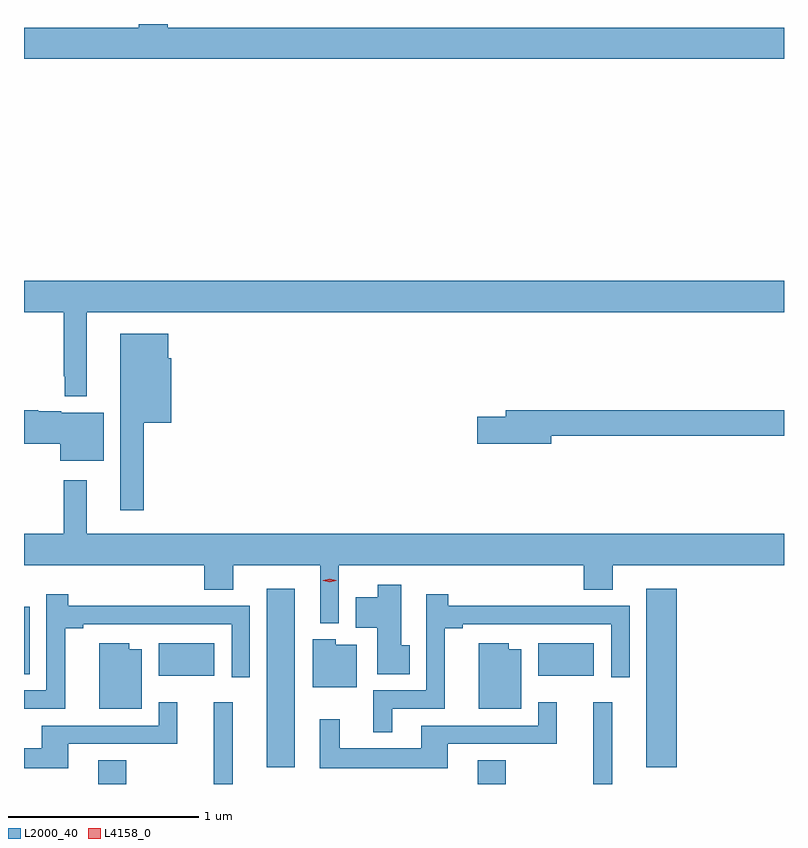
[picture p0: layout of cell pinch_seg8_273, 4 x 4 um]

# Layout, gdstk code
import gdstk
lib = gdstk.Library(unit=1e-6, precision=1e-09)
def R(c, l, rs):  # rectangles x0, y0, x1, y1
    for r in rs: c.add(gdstk.rectangle(r[:2], r[2:], *l))
def P(c, l, *ps):  # polygons
    for p in ps: c.add(gdstk.Polygon(p, *l))
L2000_40 = (2000, 40)
L4158_0 = (4158, 0)

pinch_seg8_273 = lib.new_cell('pinch_seg8_273')
R(pinch_seg8_273, L2000_40, [(516.098,1156.64,516.246,1156.766), (516.707,1156.64,516.806,1157.071), (518.096,1156.64,518.244,1156.766), (518.705,1156.64,518.804,1157.071), (516.986,1156.728,517.132,1157.668), (518.984,1156.728,519.143,1157.668), (516.416,1157.21,516.709,1157.38), (518.414,1157.21,518.707,1157.38), (515.708,1157.218,515.737,1157.572)])
P(pinch_seg8_273, L2000_40, [(519.708,1160.62),(516.464,1160.62),(516.464,1160.64),(516.311,1160.64),(516.311,1160.62),(515.708,1160.62),(515.708,1160.456),(519.708,1160.456)],
  [(516.037,1159.124),(519.708,1159.124),(519.708,1159.288),(515.708,1159.288),(515.708,1159.124),(515.916,1159.124),(515.916,1158.787),(515.923,1158.787),(515.923,1158.68),(516.037,1158.68)],
  [(516.337,1158.542),(516.484,1158.542),(516.484,1158.882),(516.466,1158.882),(516.466,1159.009),(516.215,1159.009),(516.215,1158.081),(516.337,1158.081)],
  [(518.482,1158.472),(519.708,1158.472),(519.708,1158.608),(518.243,1158.608),(518.243,1158.572),(518.094,1158.572),(518.094,1158.43),(518.482,1158.43)],
  [(516.127,1158.595),(515.904,1158.595),(515.904,1158.601),(515.782,1158.601),(515.782,1158.608),(515.708,1158.608),(515.708,1158.43),(515.9,1158.43),(515.9,1158.341),(516.127,1158.341)],
  [(517.365,1157.792),(518.654,1157.792),(518.654,1157.662),(518.806,1157.662),(518.806,1157.792),(519.708,1157.792),(519.708,1157.956),(516.037,1157.956),(516.037,1158.238),(515.916,1158.238),(515.916,1157.956),(515.708,1157.956),(515.708,1157.792),(516.656,1157.792),(516.656,1157.662),(516.808,1157.662),(516.808,1157.792),(517.268,1157.792),(517.268,1157.486),(517.365,1157.486)],
  [(517.739,1157.37),(517.693,1157.37),(517.693,1157.689),(517.571,1157.689),(517.571,1157.623),(517.454,1157.623),(517.454,1157.462),(517.568,1157.462),(517.568,1157.218),(517.739,1157.218)],
  [(515.924,1157.461),(516.019,1157.461),(516.019,1157.481),(516.801,1157.481),(516.801,1157.202),(516.897,1157.202),(516.897,1157.577),(516.572,1157.577),(516.572,1157.579),(515.942,1157.579),(515.942,1157.638),(515.826,1157.638),(515.826,1157.133),(515.708,1157.133),(515.708,1157.037),(515.924,1157.037)],
  [(517.645,1157.037),(517.922,1157.037),(517.922,1157.461),(518.017,1157.461),(518.017,1157.481),(518.799,1157.481),(518.799,1157.202),(518.895,1157.202),(518.895,1157.577),(518.57,1157.577),(518.57,1157.579),(517.94,1157.579),(517.94,1157.638),(517.824,1157.638),(517.824,1157.133),(517.547,1157.133),(517.547,1156.913),(517.645,1156.913)],
  [(517.459,1157.374),(517.35,1157.374),(517.35,1157.401),(517.229,1157.401),(517.229,1157.15),(517.459,1157.15)],
  [(516.328,1157.35),(516.262,1157.35),(516.262,1157.38),(516.104,1157.38),(516.104,1157.036),(516.328,1157.036)],
  [(518.326,1157.35),(518.26,1157.35),(518.26,1157.38),(518.102,1157.38),(518.102,1157.036),(518.326,1157.036)],
  [(517.939,1156.851),(518.513,1156.851),(518.513,1157.071),(518.415,1157.071),(518.415,1156.947),(517.799,1156.947),(517.799,1156.828),(517.369,1156.828),(517.369,1156.981),(517.265,1156.981),(517.265,1156.724),(517.939,1156.724)],
  [(515.941,1156.851),(516.515,1156.851),(516.515,1157.071),(516.417,1157.071),(516.417,1156.947),(515.801,1156.947),(515.801,1156.828),(515.708,1156.828),(515.708,1156.724),(515.941,1156.724)])
P(pinch_seg8_273, L4158_0, [(517.317,1157.701),(517.282,1157.711),(517.281,1157.711),(517.282,1157.712),(517.317,1157.721),(517.352,1157.712),(517.352,1157.711),(517.352,1157.711)])

lib.write_gds('pinch_seg8_273.gds')
